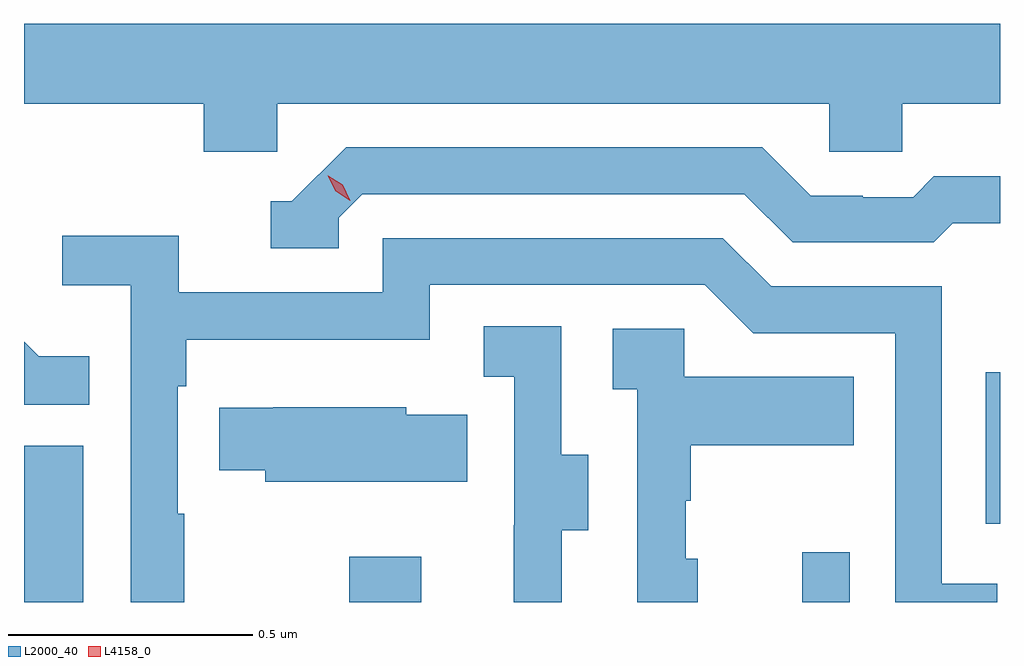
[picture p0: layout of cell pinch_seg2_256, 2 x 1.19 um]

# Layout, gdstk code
import gdstk
lib = gdstk.Library(unit=1e-6, precision=1e-09)
def R(c, l, rs):  # rectangles x0, y0, x1, y1
    for r in rs: c.add(gdstk.rectangle(r[:2], r[2:], *l))
def P(c, l, *ps):  # polygons
    for p in ps: c.add(gdstk.Polygon(p, *l))
L2000_40 = (2000, 40)
L4158_0 = (4158, 0)

pinch_seg2_256 = lib.new_cell('pinch_seg2_256')
R(pinch_seg2_256, L2000_40, [(921.513,654.607,921.634,654.927), (922.18,654.607,922.327,654.7), (923.108,654.607,923.205,654.709), (923.484,654.768,923.513,655.078)])
P(pinch_seg2_256, L2000_40, [(922.032,655.628),(923.163,655.628),(923.163,655.53),(923.313,655.53),(923.313,655.628),(923.513,655.628),(923.513,655.792),(921.513,655.792),(921.513,655.628),(921.881,655.628),(921.881,655.53),(922.032,655.53)],
  [(922.158,655.395),(922.206,655.443),(922.989,655.443),(923.088,655.344),(923.377,655.344),(923.416,655.383),(923.513,655.383),(923.513,655.48),(923.377,655.48),(923.335,655.437),(923.232,655.437),(923.232,655.44),(923.125,655.44),(923.026,655.539),(922.173,655.539),(922.062,655.428),(922.019,655.428),(922.019,655.332),(922.158,655.332)],
  [(921.841,654.788),(921.828,654.788),(921.828,655.049),(921.845,655.049),(921.845,655.145),(922.344,655.145),(922.344,655.257),(922.908,655.257),(923.007,655.158),(923.298,655.158),(923.298,654.607),(923.507,654.607),(923.507,654.645),(923.394,654.645),(923.394,655.254),(923.044,655.254),(922.945,655.353),(922.248,655.353),(922.248,655.242),(921.83,655.242),(921.83,655.358),(921.591,655.358),(921.591,655.256),(921.732,655.256),(921.732,654.607),(921.841,654.607)],
  [(922.615,654.754),(922.669,654.754),(922.669,654.909),(922.614,654.909),(922.614,655.172),(922.455,655.172),(922.455,655.069),(922.518,655.069),(922.518,654.765),(922.517,654.765),(922.517,654.607),(922.615,654.607)],
  [(922.894,654.696),(922.869,654.696),(922.869,654.815),(922.879,654.815),(922.879,654.929),(923.213,654.929),(923.213,655.069),(922.866,655.069),(922.866,655.167),(922.719,655.167),(922.719,655.043),(922.77,655.043),(922.77,654.607),(922.894,654.607)],
  [(921.647,655.111),(921.543,655.111),(921.513,655.141),(921.513,655.012),(921.647,655.012)],
  [(922.421,654.991),(922.296,654.991),(922.296,655.006),(922.024,655.006),(922.024,655.005),(921.913,655.005),(921.913,654.877),(922.007,654.877),(922.007,654.854),(922.421,654.854)])
P(pinch_seg2_256, L4158_0, [(922.182,655.43),(922.152,655.449),(922.135,655.481),(922.135,655.481),(922.136,655.481),(922.166,655.462),(922.182,655.43),(922.182,655.43)])

lib.write_gds('pinch_seg2_256.gds')
